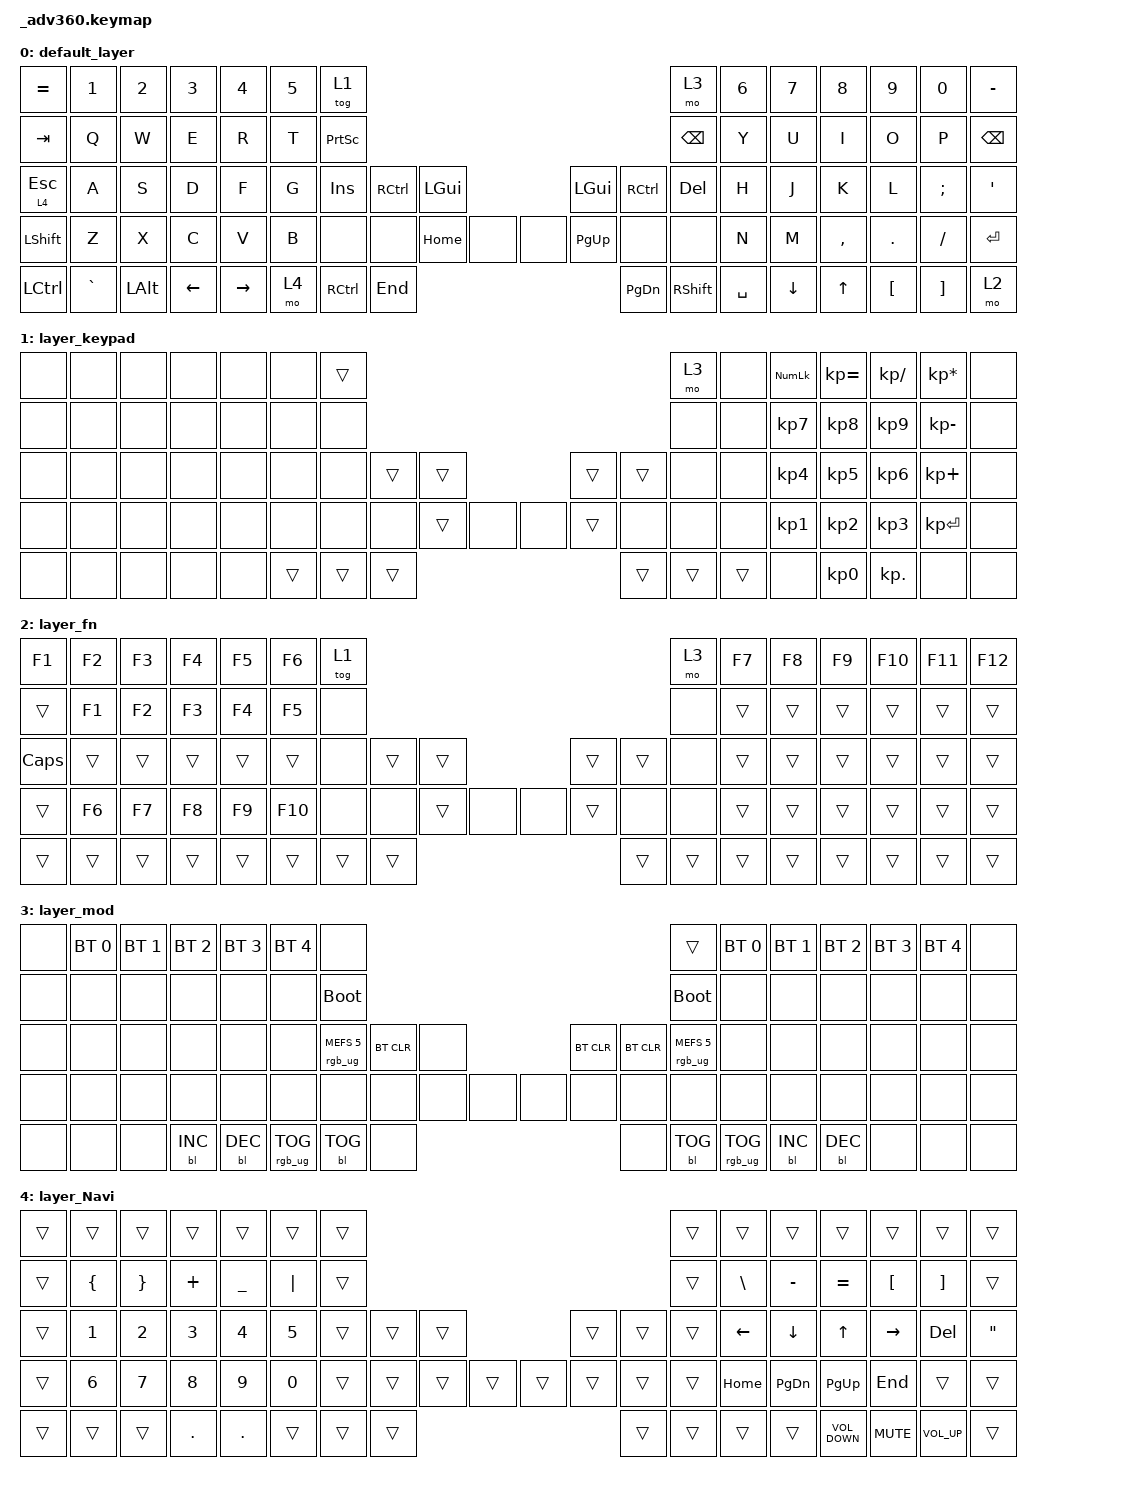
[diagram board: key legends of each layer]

/*
 * Copyright (c) 2020 The ZMK Contributors
 *
 * SPDX-License-Identifier: MIT
 */


/* THIS FILE WAS GENERATED!
 *
 * This file was generated automatically. You may or may not want to
 * edit it directly.
 */

#include <behaviors.dtsi>
#include <dt-bindings/zmk/keys.h>
#include <dt-bindings/zmk/bt.h>
#include <dt-bindings/zmk/rgb.h>
#include <dt-bindings/zmk/backlight.h>

/ {
  behaviors {
    #include "macros.dtsi"

    hm: homerow_mods {
        compatible = "zmk,behavior-hold-tap";
        label = "HOMEROW_MODS";
        #binding-cells = <2>;
        tapping-term-ms = <200>;
        quick_tap_ms = <175>;
        flavor = "tap-preferred";
        bindings = <&kp>, <&kp>;
    };
  };

    keymap {
        compatible = "zmk,keymap";


        default_layer {
            bindings = <
 &kp EQUAL     &kp N1        &kp N2    &kp N3     &kp N4  &kp N5                     &tog 1                                                                      &mo 3  &kp N6    &kp N7     &kp N8    &kp N9    &kp N0      &kp MINUS
   &kp TAB      &kp Q         &kp W     &kp E      &kp R   &kp T            &kp PRINTSCREEN                                                              &kp BACKSPACE   &kp Y     &kp U      &kp I     &kp O     &kp P  &kp BACKSPACE
 &lt 4 ESC      &kp A         &kp S     &kp D      &kp F   &kp G                    &kp INS  &kp RCTRL  &kp LGUI                   &kp LGUI   &kp RCTRL     &kp DELETE   &kp H     &kp J      &kp K     &kp L  &kp SEMI        &kp SQT
 &kp LSHFT      &kp Z         &kp X     &kp C      &kp V   &kp B                      &none      &none  &kp HOME   &none   &none  &kp PG_UP       &none          &none   &kp N     &kp M  &kp COMMA   &kp DOT  &kp FSLH      &kp ENTER
 &kp LCTRL  &kp GRAVE  &kp LEFT_ALT  &kp LEFT  &kp RIGHT                              &mo 4  &kp RCTRL   &kp END                  &kp PG_DN  &kp RSHIFT      &kp SPACE          &kp DOWN     &kp UP  &kp LBKT  &kp RBKT          &mo 2
            >;
        };

        layer_keypad {
            bindings = <
  &none   &none   &none   &none   &none   &none            &trans                                                   &mo 3   &none  &kp KP_NUM     &kp KP_EQUAL  &kp KP_DIVIDE  &kp KP_MULTIPLY   &none
  &none   &none   &none   &none   &none   &none             &none                                                   &none   &none   &kp KP_N7        &kp KP_N8      &kp KP_N9     &kp KP_MINUS   &none
  &none   &none   &none   &none   &none   &none             &none  &trans  &trans                  &trans  &trans   &none   &none   &kp KP_N4        &kp KP_N5      &kp KP_N6      &kp KP_PLUS   &none
  &none   &none   &none   &none   &none   &none             &none   &none  &trans   &none   &none  &trans   &none   &none   &none   &kp KP_N1        &kp KP_N2      &kp KP_N3     &kp KP_ENTER   &none
  &none   &none   &none   &none   &none                    &trans  &trans  &trans                  &trans  &trans  &trans               &none  &kp KP_NUMBER_0     &kp KP_DOT            &none   &none
            >;
        };

        layer_fn {
            bindings = <
   &kp F1  &kp F2  &kp F3  &kp F4  &kp F5   &kp F6            &tog 1                                                   &mo 3  &kp F7  &kp F8  &kp F9  &kp F10  &kp F11  &kp F12
   &trans  &kp F1  &kp F2  &kp F3  &kp F4   &kp F5             &none                                                   &none  &trans  &trans  &trans   &trans   &trans   &trans
 &kp CAPS  &trans  &trans  &trans  &trans   &trans             &none  &trans  &trans                  &trans  &trans   &none  &trans  &trans  &trans   &trans   &trans   &trans
   &trans  &kp F6  &kp F7  &kp F8  &kp F9  &kp F10             &none   &none  &trans   &none   &none  &trans   &none   &none  &trans  &trans  &trans   &trans   &trans   &trans
   &trans  &trans  &trans  &trans  &trans                     &trans  &trans  &trans                  &trans  &trans  &trans          &trans  &trans   &trans   &trans   &trans
            >;
        };

        layer_mod {
            bindings = <
  &none  &bt BT_SEL 0  &bt BT_SEL 1  &bt BT_SEL 2  &bt BT_SEL 3  &bt BT_SEL 4                             &none                                                                              &trans  &bt BT_SEL 0  &bt BT_SEL 1  &bt BT_SEL 2  &bt BT_SEL 3  &bt BT_SEL 4   &none
  &none         &none         &none         &none         &none         &none                       &bootloader                                                                         &bootloader         &none         &none         &none         &none         &none   &none
  &none         &none         &none         &none         &none         &none            &rgb_ug RGB_MEFS_CMD 5  &bt BT_CLR   &none                  &bt BT_CLR  &bt BT_CLR  &rgb_ug RGB_MEFS_CMD 5         &none         &none         &none         &none         &none   &none
  &none         &none         &none         &none         &none         &none                             &none       &none   &none   &none   &none       &none       &none                   &none         &none         &none         &none         &none         &none   &none
  &none         &none         &none    &bl BL_INC    &bl BL_DEC                                 &rgb_ug RGB_TOG  &bl BL_TOG   &none                       &none  &bl BL_TOG         &rgb_ug RGB_TOG                  &bl BL_INC    &bl BL_DEC         &none         &none   &none
            >;
        };

        layer_Navi {
            bindings = <
 &trans        &trans        &trans        &trans        &trans        &trans            &trans                                                  &trans         &trans         &trans             &trans            &trans             &trans   &trans
 &trans      &kp LBRC      &kp RBRC      &kp PLUS     &kp UNDER      &kp PIPE            &trans                                                  &trans  &kp BACKSLASH      &kp MINUS          &kp EQUAL  &kp LEFT_BRACKET  &kp RIGHT_BRACKET   &trans
 &trans        &kp N1  &kp NUMBER_2  &kp NUMBER_3  &kp NUMBER_4  &kp NUMBER_5            &trans  &trans  &trans                  &trans  &trans  &trans       &kp LEFT       &kp DOWN             &kp UP         &kp RIGHT         &kp DELETE  &kp DQT
 &trans  &kp NUMBER_6  &kp NUMBER_7  &kp NUMBER_8  &kp NUMBER_9  &kp NUMBER_0            &trans  &trans  &trans  &trans  &trans  &trans  &trans  &trans       &kp HOME  &kp PAGE_DOWN        &kp PAGE_UP           &kp END             &trans   &trans
 &trans        &trans        &trans       &kp DOT       &kp DOT                          &trans  &trans  &trans                  &trans  &trans  &trans                        &trans  &kp C_VOLUME_DOWN        &kp C_MUTE    &kp C_VOLUME_UP   &trans
            >;
        };

    };
};
